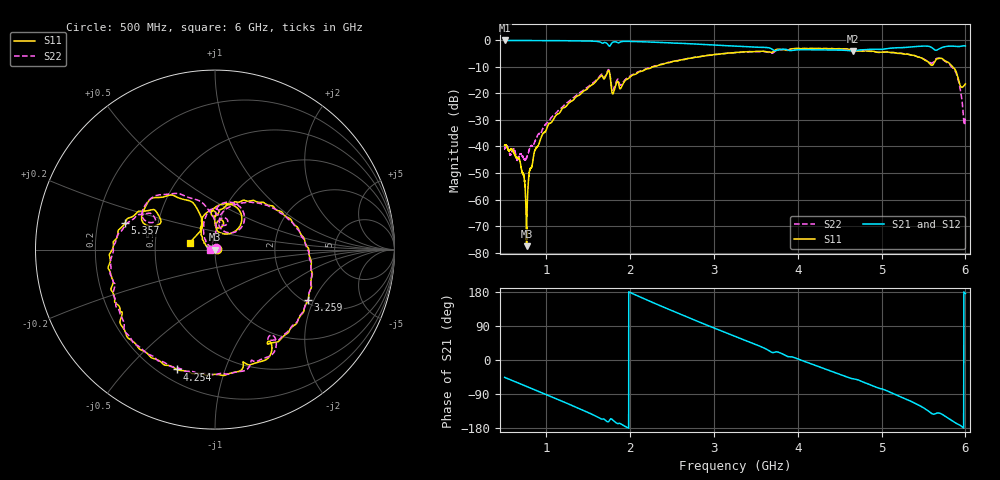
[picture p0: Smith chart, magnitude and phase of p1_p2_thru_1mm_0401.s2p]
# Hz S DB R 50
! CMT, C2409, 19096212, 19.2.3/2
! Date: 4/1/2022 3:37:52 AM
! Data: Format (Calibration Info)
! Freq	S11:dB/Ang(F2)	S21:dB/Ang(F2)	S12:dB/Ang(F2)	S22:dB/Ang(F2)
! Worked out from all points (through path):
!   5001 points, 500 MHz to 6 GHz, reference 50 ohm
!   highest |S21| = -0.08 dB at 501 MHz (marker M1); lowest = -4.0 dB at 4.659 GHz (marker M2)
!   group delay of S21, straight-line fit = 245 ps
!   lowest |S11| = -77.6 dB at 762.5 MHz (marker M3), VSWR 1.00, Z = 50 - j0.0117 ohm
!   |S11| at or under -10 dB: start of sweep to 2.269 GHz; 5.847 GHz to end of sweep
!   |S22| runs from -45.3 to -3.1 dB; largest |S21 - S12| = 0.011
!   S11 on the Smith chart (normalised r, x): 500 MHz: 1.02, +0.01; 3.259 GHz: 2.10, -1.82; 4.254 GHz: 0.26, -0.70; 5.357 GHz: 0.32, +0.13; 6 GHz: 0.74, +0.05
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5e8  -39.54 29.2  -0.08 -45.8  -0.08 -45.8  -40.88 51.4
5.00995e8  -39.51 29.3  -0.08 -45.9  -0.08 -45.9  -40.88 51.2
6.794241e8  -45.19 14.5  -0.10 -62.2  -0.10 -62.2  -43.28 69.1
7.363876e8  -52.62 -19.5  -0.11 -67.4  -0.11 -67.4  -44.76 123.8
7.624563e8  -77.55 -118.3  -0.11 -69.8  -0.11 -69.8  -44.32 112.7
7.92593e8  -50.25 -130.6  -0.12 -72.6  -0.12 -72.6  -41.42 127.2
8.654724e8  -41.16 -167.7  -0.12 -79.2  -0.12 -79.2  -37.84 137.2
1.416977e9  -19.95 135.1  -0.25 -130.8  -0.26 -130.8  -19.36 125.9
1.733773e9  -11.67 78.3  -1.61 -163.3  -1.63 -163.3  -11.24 74.8
1.794258e9  -20.13 75.8  -0.72 -159.1  -0.74 -159.1  -18.77 68.0
1.943724e9  -15.04 90.6  -0.43 -175.9  -0.45 -176.0  -14.73 81.6
2.333793e9  -9.46 53.8  -0.79 145.5  -0.82 145.5  -9.35 50.1
2.773049e9  -6.40 14.4  -1.42 104.8  -1.45 105.1  -6.40 12.8
3.251061e9  -4.59 -28.0  -2.21 62.4  -2.19 62.9  -4.62 -27.1
3.25915e9  -4.57 -28.5  -2.22 61.7  -2.20 62.1  -4.60 -27.7
4.168149e9  -3.08 -100.9  -3.60 -11.1  -3.51 -10.6  -3.13 -97.2
4.253952e9  -3.08 -107.8  -3.61 -18.1  -3.54 -17.7  -3.13 -104.0
4.658977e9  -3.68 -143.5  -4.05 -49.6  -3.95 -49.4  -3.41 -138.5
5.084846e9  -4.51 -172.0  -3.04 -83.4  -2.96 -83.3  -4.54 -168.6
5.357234e9  -5.64 163.4  -2.53 -109.8  -2.42 -109.7  -5.63 166.3
5.815052e9  -8.86 125.9  -2.21 -156.5  -2.12 -156.5  -9.25 119.6
6e9  -16.46 168.3  -2.15 175.5  -2.10 175.4  -28.74 -153.7
